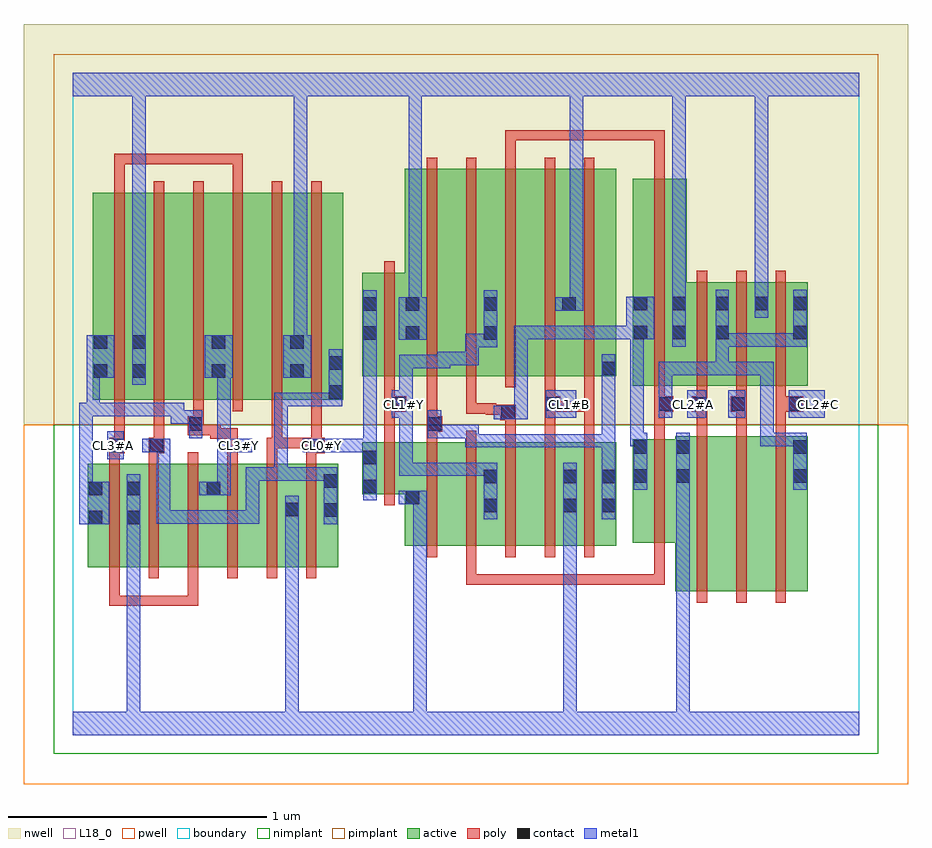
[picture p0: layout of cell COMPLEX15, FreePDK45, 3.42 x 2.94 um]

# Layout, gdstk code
import gdstk
lib = gdstk.Library(unit=1e-6, precision=1e-09)
def R(c, l, rs):  # rectangles x0, y0, x1, y1
    for r in rs: c.add(gdstk.rectangle(r[:2], r[2:], *l))
def A(c, l, x, y, w, h, nx, ny, dx, dy):  # array of equal rectangles
    R(c, l, [(x+i*dx, y+j*dy, x+i*dx+w, y+j*dy+h) for i in range(nx) for j in range(ny)])
active = (1, 0)
pwell = (2, 0)
nwell = (3, 0)
nimplant = (4, 0)
pimplant = (5, 0)
poly = (9, 0)
contact = (10, 0)
metal1 = (11, 0)
L18_0 = (18, 0)
boundary = (235, 0)

complex15 = lib.new_cell('COMPLEX15')
R(complex15, active, [(2.328,0.556,2.508,1.156), (2.508,0.556,2.66,1.156), (2.66,0.556,2.84,1.156), (2.78,0.556,2.84,1.156), (0.058,0.65,0.266,1.05), (0.206,0.65,0.266,1.05), (0.206,0.65,0.39,1.05), (0.39,0.65,0.574,1.05), (0.514,0.65,0.574,1.05), (0.514,0.65,0.694,1.05), (0.694,0.65,0.878,1.05), (0.818,0.65,0.878,1.05), (0.818,0.65,1.026,1.05), (0.966,0.65,1.026,1.05), (1.284,0.732,1.464,1.132), (1.284,0.732,1.344,0.948), (1.464,0.732,1.644,1.132), (1.584,0.732,1.768,1.132), (1.584,0.732,1.644,1.03), (1.768,0.732,1.952,1.132), (1.892,0.732,2.1,1.132), (2.04,0.732,2.1,1.132), (2.164,0.744,2.388,1.144), (0.058,0.756,0.118,1.05), (1.892,0.756,1.952,1.03), (2.164,0.756,2.224,1.144), (2.328,0.756,2.388,1.144), (1.12,0.932,1.344,1.132), (1.12,0.932,1.18,1.132), (0.078,1.296,0.286,2.096), (0.078,1.296,0.138,2.044), (0.226,1.296,0.41,2.096), (0.41,1.296,0.594,2.096), (0.534,1.296,0.714,2.096), (0.534,1.296,0.594,2.044), (0.714,1.296,0.898,2.096), (0.838,1.296,1.046,2.096), (0.838,1.296,0.898,2.096), (0.986,1.296,1.046,2.044), (0.226,1.338,0.286,2.096), (2.164,1.35,2.372,2.15), (2.164,1.35,2.224,2.044), (2.312,1.35,2.54,1.75), (2.312,1.35,2.372,1.784), (2.48,1.35,2.54,1.75), (2.48,1.35,2.692,1.75), (2.632,1.35,2.692,1.75), (2.632,1.35,2.84,1.75), (2.78,1.35,2.84,1.75), (1.12,1.388,1.344,1.788), (1.12,1.388,1.18,1.788), (1.284,1.388,1.464,2.188), (1.284,1.388,1.344,2.188), (1.464,1.388,1.644,2.188), (1.584,1.388,1.644,2.044), (1.584,1.388,1.768,2.188), (1.768,1.388,1.948,2.188), (1.888,1.388,2.1,2.188), (2.04,1.388,2.1,2.044), (1.888,1.586,1.948,2.188)])
R(complex15, pwell, [(-0.188,-0.188,3.228,1.2)])
R(complex15, nwell, [(-0.188,1.2,3.228,2.748)])
R(complex15, nimplant, [(-0.072,-0.072,3.112,1.2)])
R(complex15, pimplant, [(-0.072,1.2,3.112,2.632)])
A(complex15, poly, 2.412, 0.512, 0.04, 0.688, 3, 1, 0.152, 0)
A(complex15, poly, 0.142, 0.606, 0.04, 0.488, 6, 1, 0.152, 0)
A(complex15, poly, 1.368, 0.688, 0.04, 0.488, 5, 1, 0.152, 0)
A(complex15, poly, 2.412, 1.16, 0.04, 0.13, 3, 1, 0.152, 0)
A(complex15, poly, 0.162, 1.252, 0.04, 0.888, 6, 1, 0.152, 0)
A(complex15, poly, 2.412, 1.27, 0.04, 0.076, 3, 1, 0.152, 0)
A(complex15, poly, 2.412, 1.306, 0.04, 0.488, 3, 1, 0.152, 0)
A(complex15, poly, 1.368, 1.344, 0.04, 0.888, 5, 1, 0.152, 0)
R(complex15, poly, [(0.142,0.5,0.182,0.54), (0.142,0.5,0.182,0.54), (0.142,0.5,0.182,0.54), (0.142,0.5,0.182,0.646), (0.142,0.5,0.38,0.54), (0.34,0.5,0.38,0.54), (0.34,0.5,0.38,0.54), (0.34,0.5,0.38,0.54), (0.34,0.5,0.486,0.54), (0.446,0.5,0.486,0.54), (0.446,0.5,0.486,0.646), (1.52,0.582,1.56,0.622), (1.52,0.582,1.56,0.622), (1.52,0.582,1.56,0.622), (1.52,0.582,1.56,0.728), (1.52,0.582,1.742,0.622), (1.702,0.582,1.742,0.622), (1.702,0.582,1.742,0.622), (1.702,0.582,1.742,0.622), (1.702,0.582,1.848,0.622), (1.808,0.582,1.848,0.622), (1.808,0.582,1.848,0.622), (1.808,0.582,1.848,0.622), (1.808,0.582,2.182,0.622), (2.142,0.582,2.182,0.622), (2.142,0.582,2.182,0.622), (2.142,0.582,2.182,0.622), (2.142,0.582,2.288,0.622), (2.248,0.582,2.288,0.622), (2.248,0.582,2.288,0.622), (2.248,0.582,2.288,0.622), (2.248,0.582,2.288,0.74), (2.248,0.7,2.288,1.188), (1.204,0.888,1.244,1.176), (0.142,1.054,0.182,1.13), (0.294,1.054,0.334,1.13), (0.598,1.054,0.638,1.186), (0.75,1.054,0.79,1.15), (0.902,1.054,0.942,1.13), (0.142,1.09,0.202,1.15), (0.294,1.09,0.354,1.15), (0.902,1.09,0.974,1.15), (0.162,1.11,0.202,1.15), (0.162,1.11,0.202,1.15), (0.162,1.11,0.202,1.292), (0.314,1.11,0.354,1.15), (0.314,1.11,0.354,1.15), (0.314,1.11,0.354,1.292), (0.75,1.11,0.81,1.15), (0.77,1.11,0.81,1.15), (0.77,1.11,0.81,1.15), (0.77,1.11,0.81,1.15), (0.77,1.11,0.81,1.15), (0.77,1.11,0.81,1.292), (0.77,1.11,0.942,1.15), (0.922,1.11,0.962,1.15), (0.922,1.11,0.962,1.15), (0.922,1.11,0.962,1.292), (1.204,1.136,1.244,1.29), (1.368,1.136,1.408,1.212), (1.672,1.136,1.712,1.258), (1.824,1.136,1.864,1.29), (1.976,1.136,2.016,1.29), (0.532,1.146,0.638,1.186), (0.532,1.146,0.572,1.2), (0.598,1.146,0.638,1.186), (0.598,1.146,0.638,1.186), (0.598,1.146,0.638,1.186), (2.248,1.148,2.288,1.29), (0.446,1.16,0.506,1.232), (0.466,1.16,0.572,1.2), (1.368,1.172,1.428,1.232), (0.466,1.192,0.506,1.292), (1.368,1.192,1.408,1.232), (1.368,1.192,1.408,1.232), (1.368,1.192,1.408,1.384), (1.652,1.218,1.712,1.278), (1.672,1.218,1.712,1.258), (1.672,1.218,1.712,1.258), (1.596,1.238,1.692,1.278), (1.596,1.238,1.636,1.282), (1.52,1.242,1.56,1.282), (1.52,1.242,1.56,1.384), (1.52,1.242,1.636,1.282), (1.204,1.25,1.29,1.31), (1.824,1.25,1.864,1.29), (1.824,1.25,1.864,1.29), (1.824,1.25,1.864,1.29), (1.824,1.25,1.864,1.29), (1.824,1.25,1.884,1.31), (1.824,1.25,2.016,1.29), (1.976,1.25,2.016,1.29), (1.976,1.25,2.016,1.29), (1.976,1.25,2.016,1.29), (1.976,1.25,2.016,1.384), (2.248,1.25,2.288,1.29), (2.248,1.25,2.288,1.29), (2.248,1.25,2.32,1.31), (2.392,1.25,2.452,1.31), (2.542,1.25,2.604,1.31), (2.716,1.25,2.822,1.31), (1.204,1.27,1.244,1.31), (1.204,1.27,1.244,1.31), (1.204,1.27,1.244,1.384), (1.824,1.27,1.864,1.384), (2.248,1.27,2.288,1.346), (2.412,1.27,2.452,1.31), (2.412,1.27,2.452,1.31), (2.564,1.27,2.604,1.31), (2.564,1.27,2.604,1.31), (2.716,1.27,2.756,1.31), (2.716,1.27,2.756,1.31), (2.248,1.306,2.288,2.194), (1.204,1.344,1.244,1.832), (0.162,2.1,0.202,2.246), (0.618,2.1,0.658,2.246), (2.248,2.154,2.288,2.338), (1.672,2.192,1.712,2.338), (0.162,2.206,0.202,2.246), (0.162,2.206,0.202,2.246), (0.162,2.206,0.202,2.246), (0.162,2.206,0.366,2.246), (0.326,2.206,0.366,2.246), (0.326,2.206,0.366,2.246), (0.326,2.206,0.366,2.246), (0.326,2.206,0.486,2.246), (0.446,2.206,0.486,2.246), (0.446,2.206,0.658,2.246), (0.618,2.206,0.658,2.246), (0.618,2.206,0.658,2.246), (0.618,2.206,0.658,2.246), (1.672,2.298,1.712,2.338), (1.672,2.298,1.742,2.338), (1.702,2.298,1.742,2.338), (1.702,2.298,1.848,2.338), (1.808,2.298,1.848,2.338), (1.808,2.298,1.848,2.338), (1.808,2.298,1.848,2.338), (1.808,2.298,2.124,2.338), (2.084,2.298,2.124,2.338), (2.084,2.298,2.124,2.338), (2.084,2.298,2.124,2.338), (2.084,2.298,2.288,2.338), (2.248,2.298,2.288,2.338), (2.248,2.298,2.288,2.338), (2.248,2.298,2.288,2.338)])
R(complex15, contact, [(0.062,0.816,0.114,0.868), (0.21,0.816,0.262,0.868), (0.97,0.844,1.022,0.896), (0.822,0.846,0.874,0.898), (1.588,0.862,1.64,0.914), (1.896,0.862,1.948,0.914), (2.044,0.862,2.096,0.914), (1.288,0.892,1.34,0.944), (0.062,0.928,0.114,0.98), (0.21,0.928,0.262,0.98), (0.518,0.928,0.57,0.98), (1.124,0.936,1.176,0.988), (0.97,0.956,1.022,1.008), (1.588,0.974,1.64,1.026), (1.896,0.974,1.948,1.026), (2.044,0.974,2.096,1.026), (2.168,0.976,2.22,1.028), (2.332,0.976,2.384,1.028), (2.784,0.976,2.836,1.028), (1.124,1.048,1.176,1.1), (2.168,1.088,2.22,1.14), (2.332,1.088,2.384,1.14), (2.784,1.088,2.836,1.14), (0.146,1.094,0.198,1.146), (0.298,1.094,0.35,1.146), (0.918,1.094,0.97,1.146), (0.45,1.176,0.502,1.228), (1.372,1.176,1.424,1.228), (1.656,1.222,1.708,1.274), (1.234,1.254,1.286,1.306), (1.828,1.254,1.88,1.306), (2.264,1.254,2.316,1.306), (2.396,1.254,2.448,1.306), (2.546,1.254,2.598,1.306), (2.766,1.254,2.818,1.306), (0.99,1.3,1.042,1.352), (0.082,1.382,0.134,1.434), (0.23,1.382,0.282,1.434), (0.538,1.382,0.59,1.434), (0.842,1.382,0.894,1.434), (2.044,1.392,2.096,1.444), (0.99,1.412,1.042,1.464), (0.082,1.494,0.134,1.546), (0.23,1.494,0.282,1.546), (0.538,1.494,0.59,1.546), (0.842,1.494,0.894,1.546), (1.124,1.528,1.176,1.58), (1.288,1.528,1.34,1.58), (1.588,1.528,1.64,1.58), (2.168,1.53,2.22,1.582), (2.316,1.53,2.368,1.582), (2.484,1.53,2.536,1.582), (2.784,1.53,2.836,1.582), (1.124,1.64,1.176,1.692), (1.288,1.64,1.34,1.692), (1.588,1.64,1.64,1.692), (1.892,1.64,1.944,1.692), (2.168,1.642,2.22,1.694), (2.316,1.642,2.368,1.694), (2.484,1.642,2.536,1.694), (2.636,1.642,2.688,1.694), (2.784,1.642,2.836,1.694)])
R(complex15, metal1, [(0,0,3.04,0.092), (0.21,0.04,0.262,0.092), (0.21,0.04,0.262,0.092), (0.21,0.04,0.262,0.092), (0.21,0.04,0.262,0.092), (0.21,0.04,0.262,0.092), (0.21,0.04,0.262,0.092), (0.21,0.04,0.262,0.84), (0.822,0.04,0.874,0.092), (0.822,0.04,0.874,0.092), (0.822,0.04,0.874,0.092), (0.822,0.04,0.874,0.092), (0.822,0.04,0.874,0.092), (0.822,0.04,0.874,0.092), (0.822,0.04,0.874,0.87), (1.316,0.04,1.368,0.092), (1.316,0.04,1.368,0.092), (1.316,0.04,1.368,0.092), (1.316,0.04,1.368,0.092), (1.316,0.04,1.368,0.092), (1.316,0.04,1.368,0.092), (1.316,0.04,1.368,0.092), (1.316,0.04,1.368,0.092), (1.316,0.04,1.368,0.944), (1.896,0.04,1.948,0.092), (1.896,0.04,1.948,0.092), (1.896,0.04,1.948,0.092), (1.896,0.04,1.948,0.092), (1.896,0.04,1.948,0.092), (1.896,0.04,1.948,0.092), (1.896,0.04,1.948,0.886), (2.332,0.04,2.384,1), (0.21,0.788,0.262,0.84), (0.21,0.788,0.262,0.84), (0.21,0.788,0.262,0.84), (0.21,0.788,0.262,0.84), (0.21,0.788,0.262,0.84), (0.21,0.788,0.262,0.84), (0.21,0.788,0.262,1.008), (0.026,0.816,0.142,0.98), (0.97,0.816,1.022,1.036), (0.326,0.818,0.378,0.87), (0.326,0.818,0.378,1.146), (0.326,0.818,0.612,0.87), (0.56,0.818,0.612,0.87), (0.56,0.818,0.612,0.87), (0.56,0.818,0.612,0.87), (0.56,0.818,0.722,0.87), (0.67,0.818,0.722,0.87), (0.67,0.818,0.722,0.87), (0.67,0.818,0.722,0.87), (0.67,0.818,0.722,1.036), (0.822,0.818,0.874,0.87), (0.822,0.818,0.874,0.87), (0.822,0.818,0.874,0.87), (0.822,0.818,0.874,0.87), (0.822,0.818,0.874,0.87), (0.822,0.818,0.874,0.87), (0.822,0.818,0.874,0.926), (1.588,0.834,1.64,1.054), (1.896,0.834,1.948,0.886), (1.896,0.834,1.948,0.886), (1.896,0.834,1.948,0.886), (1.896,0.834,1.948,0.886), (1.896,0.834,1.948,0.886), (1.896,0.834,1.948,0.886), (1.896,0.834,1.948,1.054), (2.044,0.834,2.096,1.054), (1.26,0.892,1.368,0.944), (1.316,0.892,1.368,0.944), (1.316,0.892,1.368,0.944), (1.316,0.892,1.368,0.944), (1.316,0.892,1.368,0.944), (1.124,0.908,1.176,1.128), (0.026,0.928,0.078,1.284), (0.49,0.928,0.612,0.98), (0.56,0.928,0.612,1.146), (2.168,0.948,2.22,1.168), (2.332,0.948,2.384,1), (2.332,0.948,2.384,1), (2.332,0.948,2.384,1), (2.332,0.948,2.384,1), (2.332,0.948,2.384,1), (2.332,0.948,2.384,1), (2.332,0.948,2.384,1), (2.332,0.948,2.384,1), (2.332,0.948,2.384,1.168), (2.784,0.948,2.836,1.168), (0.67,0.984,0.722,1.036), (0.67,0.984,0.832,1.036), (0.78,0.984,0.832,1.036), (0.78,0.984,0.832,1.036), (0.78,0.984,0.832,1.036), (0.78,0.984,0.832,1.036), (0.78,0.984,0.832,1.036), (0.78,0.984,1.022,1.036), (0.78,0.984,0.832,1.324), (0.97,0.984,1.022,1.036), (0.97,0.984,1.022,1.036), (1.262,1.002,1.314,1.054), (1.262,1.002,1.424,1.054), (1.262,1.002,1.314,1.334), (1.372,1.002,1.424,1.054), (1.372,1.002,1.424,1.054), (1.372,1.002,1.424,1.054), (1.372,1.002,1.57,1.054), (1.518,1.002,1.57,1.054), (1.518,1.002,1.64,1.054), (2.044,1.002,2.096,1.164), (0.134,1.066,0.198,1.174), (1.124,1.076,1.176,1.146), (0.27,1.094,0.378,1.146), (0.326,1.094,0.378,1.146), (0.326,1.094,0.378,1.146), (0.326,1.094,0.378,1.146), (0.326,1.094,0.378,1.146), (0.56,1.094,0.612,1.434), (0.56,1.094,0.694,1.146), (0.89,1.094,1.014,1.146), (0.962,1.094,1.176,1.146), (1.124,1.094,1.176,1.146), (1.124,1.094,1.176,1.146), (1.124,1.094,1.176,1.146), (1.124,1.094,1.176,1.146), (1.124,1.094,1.176,1.146), (1.124,1.094,1.176,1.552), (1.518,1.112,1.57,1.164), (1.518,1.112,1.57,1.164), (1.518,1.112,1.758,1.164), (1.518,1.112,1.57,1.2), (1.706,1.112,1.758,1.164), (1.706,1.112,1.758,1.164), (1.706,1.112,1.758,1.164), (1.706,1.112,1.868,1.164), (1.816,1.112,1.868,1.164), (1.816,1.112,1.868,1.164), (1.816,1.112,1.868,1.164), (1.816,1.112,2.082,1.164), (2.03,1.112,2.082,1.164), (2.03,1.112,2.096,1.164), (2.044,1.112,2.096,1.164), (2.044,1.112,2.096,1.416), (2.154,1.116,2.206,1.168), (2.154,1.116,2.206,1.168), (2.154,1.116,2.206,1.582), (2.154,1.116,2.22,1.168), (2.168,1.116,2.22,1.168), (2.656,1.116,2.708,1.168), (2.656,1.116,2.836,1.168), (2.656,1.116,2.708,1.444), (2.784,1.116,2.836,1.168), (2.784,1.116,2.836,1.168), (0.45,1.148,0.502,1.256), (1.372,1.148,1.424,1.2), (1.372,1.148,1.424,1.2), (1.372,1.148,1.424,1.256), (1.372,1.148,1.57,1.2), (0.38,1.204,0.502,1.256), (0.38,1.204,0.432,1.284), (1.628,1.222,1.736,1.274), (1.684,1.222,1.758,1.274), (1.706,1.222,1.758,1.274), (1.706,1.222,1.758,1.582), (1.234,1.226,1.306,1.334), (1.828,1.226,1.946,1.334), (2.264,1.226,2.316,1.334), (2.374,1.226,2.448,1.334), (2.534,1.226,2.598,1.334), (2.766,1.226,2.906,1.334), (0.026,1.232,0.078,1.284), (0.026,1.232,0.078,1.284), (0.026,1.232,0.106,1.284), (0.054,1.232,0.106,1.284), (0.054,1.232,0.106,1.284), (0.054,1.232,0.216,1.284), (0.054,1.232,0.106,1.434), (0.164,1.232,0.216,1.284), (0.164,1.232,0.216,1.284), (0.164,1.232,0.216,1.284), (0.164,1.232,0.432,1.284), (0.78,1.272,0.832,1.324), (0.78,1.272,0.832,1.324), (0.78,1.272,0.832,1.324), (0.78,1.272,1.042,1.324), (0.99,1.272,1.042,1.324), (0.99,1.272,1.042,1.324), (0.99,1.272,1.042,1.492), (1.254,1.282,1.314,1.334), (1.262,1.282,1.314,1.334), (1.262,1.282,1.314,1.334), (1.262,1.282,1.314,1.334), (1.262,1.282,1.314,1.47), (2.264,1.282,2.316,1.334), (2.264,1.282,2.316,1.444), (0.23,1.354,0.282,1.574), (2.044,1.364,2.096,1.416), (2.044,1.364,2.096,1.416), (2.044,1.364,2.096,1.472), (0.054,1.382,0.162,1.546), (0.51,1.382,0.618,1.546), (0.56,1.382,0.612,1.434), (0.56,1.382,0.612,1.434), (0.814,1.382,0.922,1.546), (2.264,1.392,2.426,1.444), (2.374,1.392,2.426,1.444), (2.374,1.392,2.536,1.444), (2.484,1.392,2.536,1.444), (2.484,1.392,2.536,1.444), (2.484,1.392,2.536,1.444), (2.484,1.392,2.708,1.444), (2.484,1.392,2.536,1.554), (2.656,1.392,2.708,1.444), (2.656,1.392,2.708,1.444), (2.656,1.392,2.708,1.444), (1.262,1.418,1.314,1.47), (1.262,1.418,1.46,1.47), (1.408,1.418,1.46,1.47), (1.408,1.418,1.46,1.47), (1.408,1.418,1.46,1.482), (1.408,1.43,1.57,1.482), (1.518,1.43,1.57,1.552), (0.854,1.494,0.906,1.546), (0.854,1.494,0.906,1.546), (0.854,1.494,0.906,1.546), (0.854,1.494,0.906,1.546), (0.854,1.494,0.906,2.52), (1.124,1.5,1.176,1.72), (1.518,1.5,1.64,1.552), (1.588,1.5,1.64,1.72), (2.316,1.502,2.368,1.722), (2.484,1.502,2.536,1.554), (2.484,1.502,2.536,1.554), (2.484,1.502,2.536,1.722), (2.484,1.502,2.726,1.554), (2.674,1.502,2.726,1.554), (2.674,1.502,2.836,1.554), (2.784,1.502,2.836,1.554), (2.784,1.502,2.836,1.554), (2.784,1.502,2.836,1.722), (0.23,1.522,0.282,2.52), (1.26,1.528,1.368,1.692), (1.706,1.53,1.758,1.582), (1.706,1.53,1.892,1.582), (1.84,1.53,1.892,1.582), (1.84,1.53,1.892,1.582), (1.84,1.53,1.892,1.582), (1.84,1.53,1.892,1.582), (1.84,1.53,1.892,1.582), (1.84,1.53,2.082,1.582), (2.03,1.53,2.082,1.582), (2.03,1.53,2.082,1.582), (2.03,1.53,2.082,1.582), (2.03,1.53,2.192,1.582), (2.14,1.53,2.248,1.694), (2.154,1.53,2.206,1.582), (2.154,1.53,2.206,1.582), (2.636,1.614,2.688,1.722), (1.298,1.64,1.35,1.692), (1.298,1.64,1.35,1.692), (1.298,1.64,1.35,1.692), (1.298,1.64,1.35,1.692), (1.298,1.64,1.35,2.52), (1.864,1.64,1.972,1.692), (1.92,1.64,1.972,2.52), (2.316,1.67,2.368,2.52), (2.636,1.67,2.688,1.722), (2.636,1.67,2.688,1.722), (2.636,1.67,2.688,1.722), (2.636,1.67,2.688,1.722), (2.636,1.67,2.688,1.722), (2.636,1.67,2.688,1.722), (2.636,1.67,2.688,1.722), (2.636,1.67,2.688,1.722), (2.636,1.67,2.688,1.722), (2.636,1.67,2.688,1.722), (2.636,1.67,2.688,1.722), (2.636,1.67,2.688,1.722), (2.636,1.67,2.688,1.722), (2.636,1.67,2.688,1.722), (2.636,1.67,2.688,1.722), (2.636,1.67,2.688,1.722), (2.636,1.67,2.688,2.52), (0,2.468,3.04,2.56), (0.23,2.468,0.282,2.52), (0.23,2.468,0.282,2.52), (0.23,2.468,0.282,2.52), (0.23,2.468,0.282,2.52), (0.23,2.468,0.282,2.52), (0.23,2.468,0.282,2.52), (0.23,2.468,0.282,2.52), (0.23,2.468,0.282,2.52), (0.854,2.468,0.906,2.52), (0.854,2.468,0.906,2.52), (0.854,2.468,0.906,2.52), (0.854,2.468,0.906,2.52), (1.298,2.468,1.35,2.52), (1.298,2.468,1.35,2.52), (1.298,2.468,1.35,2.52), (1.298,2.468,1.35,2.52), (1.92,2.468,1.972,2.52), (1.92,2.468,1.972,2.52), (1.92,2.468,1.972,2.52), (1.92,2.468,1.972,2.52), (1.92,2.468,1.972,2.52), (1.92,2.468,1.972,2.52), (1.92,2.468,1.972,2.52), (1.92,2.468,1.972,2.52), (2.316,2.468,2.368,2.52), (2.316,2.468,2.368,2.52), (2.316,2.468,2.368,2.52), (2.316,2.468,2.368,2.52), (2.316,2.468,2.368,2.52), (2.316,2.468,2.368,2.52), (2.316,2.468,2.368,2.52), (2.316,2.468,2.368,2.52)])
R(complex15, L18_0, [(0,0,3.04,0.092), (0.21,0.04,0.262,0.092), (0.21,0.04,0.262,0.092), (0.21,0.04,0.262,0.092), (0.21,0.04,0.262,0.092), (0.21,0.04,0.262,0.092), (0.21,0.04,0.262,0.092), (0.21,0.04,0.262,0.84), (0.822,0.04,0.874,0.092), (0.822,0.04,0.874,0.092), (0.822,0.04,0.874,0.092), (0.822,0.04,0.874,0.092), (0.822,0.04,0.874,0.092), (0.822,0.04,0.874,0.092), (0.822,0.04,0.874,0.87), (1.316,0.04,1.368,0.092), (1.316,0.04,1.368,0.092), (1.316,0.04,1.368,0.092), (1.316,0.04,1.368,0.092), (1.316,0.04,1.368,0.092), (1.316,0.04,1.368,0.092), (1.316,0.04,1.368,0.092), (1.316,0.04,1.368,0.092), (1.316,0.04,1.368,0.944), (1.896,0.04,1.948,0.092), (1.896,0.04,1.948,0.092), (1.896,0.04,1.948,0.092), (1.896,0.04,1.948,0.092), (1.896,0.04,1.948,0.092), (1.896,0.04,1.948,0.092), (1.896,0.04,1.948,0.886), (2.332,0.04,2.384,1), (0.21,0.788,0.262,0.84), (0.21,0.788,0.262,0.84), (0.21,0.788,0.262,0.84), (0.21,0.788,0.262,0.84), (0.21,0.788,0.262,0.84), (0.21,0.788,0.262,0.84), (0.21,0.788,0.262,1.008), (0.822,0.818,0.874,0.87), (0.822,0.818,0.874,0.87), (0.822,0.818,0.874,0.87), (0.822,0.818,0.874,0.87), (0.822,0.818,0.874,0.87), (0.822,0.818,0.874,0.87), (0.822,0.818,0.874,0.926), (1.588,0.834,1.64,1.054), (1.896,0.834,1.948,0.886), (1.896,0.834,1.948,0.886), (1.896,0.834,1.948,0.886), (1.896,0.834,1.948,0.886), (1.896,0.834,1.948,0.886), (1.896,0.834,1.948,0.886), (1.896,0.834,1.948,1.054), (1.26,0.892,1.368,0.944), (1.316,0.892,1.368,0.944), (1.316,0.892,1.368,0.944), (1.316,0.892,1.368,0.944), (1.316,0.892,1.368,0.944), (1.124,0.908,1.176,1.128), (0.49,0.928,0.612,0.98), (0.56,0.928,0.612,1.146), (2.332,0.948,2.384,1), (2.332,0.948,2.384,1), (2.332,0.948,2.384,1), (2.332,0.948,2.384,1), (2.332,0.948,2.384,1), (2.332,0.948,2.384,1), (2.332,0.948,2.384,1), (2.332,0.948,2.384,1), (2.332,0.948,2.384,1.168), (1.262,1.002,1.314,1.054), (1.262,1.002,1.314,1.334), (1.262,1.002,1.424,1.054), (1.372,1.002,1.424,1.054), (1.372,1.002,1.424,1.054), (1.372,1.002,1.424,1.054), (1.372,1.002,1.57,1.054), (1.518,1.002,1.57,1.054), (1.518,1.002,1.64,1.054), (0.134,1.066,0.198,1.174), (1.124,1.076,1.176,1.146), (0.134,1.094,0.186,1.146), (0.56,1.094,0.694,1.146), (0.56,1.094,0.612,1.434), (0.614,1.094,0.666,1.146), (0.89,1.094,1.014,1.146), (0.934,1.094,0.986,1.146), (0.962,1.094,1.176,1.146), (1.124,1.094,1.176,1.146), (1.124,1.094,1.176,1.146), (1.124,1.094,1.176,1.146), (1.124,1.094,1.176,1.146), (1.124,1.094,1.176,1.146), (1.124,1.094,1.176,1.552), (1.234,1.226,1.306,1.334), (1.828,1.226,1.946,1.334), (2.374,1.226,2.448,1.334), (2.534,1.226,2.598,1.334), (2.766,1.226,2.906,1.334), (1.254,1.254,1.306,1.306), (1.894,1.254,1.946,1.306), (2.374,1.254,2.426,1.306), (2.534,1.254,2.586,1.306), (2.854,1.254,2.906,1.306), (1.254,1.282,1.314,1.334), (1.262,1.282,1.314,1.334), (1.262,1.282,1.314,1.334), (1.262,1.282,1.314,1.334), (1.262,1.282,1.314,1.47), (0.23,1.354,0.282,1.574), (0.51,1.382,0.618,1.546), (0.56,1.382,0.612,1.434), (0.56,1.382,0.612,1.434), (0.814,1.382,0.922,1.546), (1.262,1.418,1.314,1.47), (1.262,1.418,1.46,1.47), (1.408,1.418,1.46,1.47), (1.408,1.418,1.46,1.47), (1.408,1.418,1.46,1.482), (1.408,1.43,1.57,1.482), (1.518,1.43,1.57,1.552), (0.854,1.494,0.906,1.546), (0.854,1.494,0.906,1.546), (0.854,1.494,0.906,1.546), (0.854,1.494,0.906,1.546), (0.854,1.494,0.906,2.52), (1.124,1.5,1.176,1.72), (1.518,1.5,1.64,1.552), (1.588,1.5,1.64,1.72), (2.316,1.502,2.368,1.722), (0.23,1.522,0.282,2.52), (1.26,1.528,1.368,1.692), (2.636,1.614,2.688,1.722), (1.298,1.64,1.35,1.692), (1.298,1.64,1.35,1.692), (1.298,1.64,1.35,1.692), (1.298,1.64,1.35,1.692), (1.298,1.64,1.35,2.52), (1.864,1.64,1.972,1.692), (1.92,1.64,1.972,2.52), (2.316,1.67,2.368,2.52), (2.636,1.67,2.688,1.722), (2.636,1.67,2.688,1.722), (2.636,1.67,2.688,1.722), (2.636,1.67,2.688,1.722), (2.636,1.67,2.688,1.722), (2.636,1.67,2.688,1.722), (2.636,1.67,2.688,1.722), (2.636,1.67,2.688,1.722), (2.636,1.67,2.688,1.722), (2.636,1.67,2.688,1.722), (2.636,1.67,2.688,1.722), (2.636,1.67,2.688,1.722), (2.636,1.67,2.688,1.722), (2.636,1.67,2.688,1.722), (2.636,1.67,2.688,1.722), (2.636,1.67,2.688,1.722), (2.636,1.67,2.688,2.52), (0,2.468,3.04,2.56), (0.23,2.468,0.282,2.52), (0.23,2.468,0.282,2.52), (0.23,2.468,0.282,2.52), (0.23,2.468,0.282,2.52), (0.23,2.468,0.282,2.52), (0.23,2.468,0.282,2.52), (0.23,2.468,0.282,2.52), (0.23,2.468,0.282,2.52), (0.854,2.468,0.906,2.52), (0.854,2.468,0.906,2.52), (0.854,2.468,0.906,2.52), (0.854,2.468,0.906,2.52), (1.298,2.468,1.35,2.52), (1.298,2.468,1.35,2.52), (1.298,2.468,1.35,2.52), (1.298,2.468,1.35,2.52), (1.92,2.468,1.972,2.52), (1.92,2.468,1.972,2.52), (1.92,2.468,1.972,2.52), (1.92,2.468,1.972,2.52), (1.92,2.468,1.972,2.52), (1.92,2.468,1.972,2.52), (1.92,2.468,1.972,2.52), (1.92,2.468,1.972,2.52), (2.316,2.468,2.368,2.52), (2.316,2.468,2.368,2.52), (2.316,2.468,2.368,2.52), (2.316,2.468,2.368,2.52), (2.316,2.468,2.368,2.52), (2.316,2.468,2.368,2.52), (2.316,2.468,2.368,2.52), (2.316,2.468,2.368,2.52)])
R(complex15, boundary, [(0,0,3.04,2.56)])
complex15.add(gdstk.Label('CL0#Y', (0.96,1.12), layer=11, texttype=0))
complex15.add(gdstk.Label('CL1#B', (1.92,1.28), layer=11, texttype=0))
complex15.add(gdstk.Label('CL1#Y', (1.28,1.28), layer=11, texttype=0))
complex15.add(gdstk.Label('CL2#A', (2.4,1.28), layer=11, texttype=0))
complex15.add(gdstk.Label('CL2#B', (2.56,1.28), layer=11, texttype=0))
complex15.add(gdstk.Label('CL2#C', (2.88,1.28), layer=11, texttype=0))
complex15.add(gdstk.Label('CL3#A', (0.16,1.12), layer=11, texttype=0))
complex15.add(gdstk.Label('CL3#Y', (0.64,1.12), layer=11, texttype=0))

lib.write_gds('COMPLEX15.gds')
